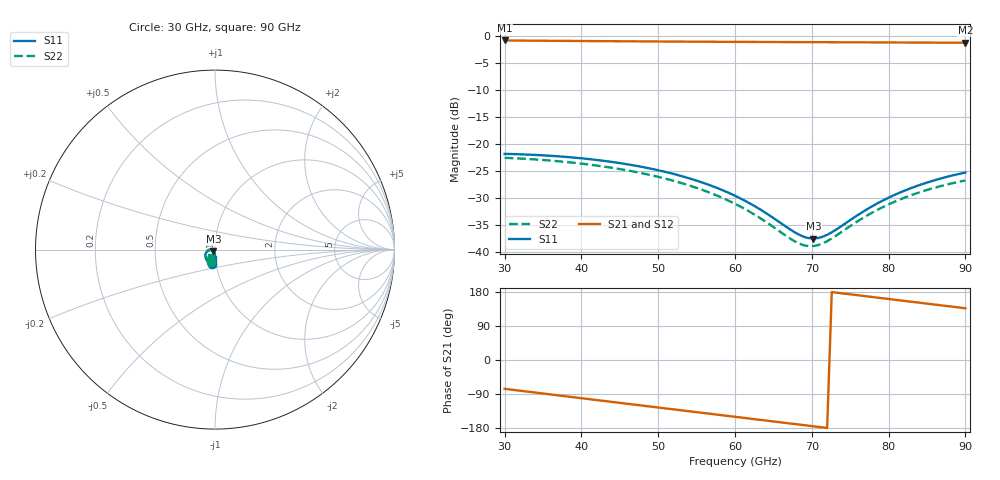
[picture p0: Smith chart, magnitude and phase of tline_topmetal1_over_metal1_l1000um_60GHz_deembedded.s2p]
! Created with skrf 2.0.1 (http://scikit-rf.org).
# GHz S DB R 50.0
!freq dBS11 angS11 dBS21 angS21 dBS12 angS12 dBS22 angS22
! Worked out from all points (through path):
!   101 points, 30 GHz to 90 GHz, reference 50 ohm
!   highest |S21| = -0.88 dB at 30 GHz (marker M1); lowest = -1.3 dB at 90 GHz (marker M2)
!   group delay of S21, straight-line fit = 6.82 ps
!   lowest |S11| = -37.6 dB at 70.2 GHz (marker M3), VSWR 1.03, Z = 49.1 - j0.969 ohm
!   |S11| at or under -10 dB: start of sweep to end of sweep
!   |S22| runs from -39.0 to -22.6 dB; largest |S21 - S12| = 1.1e-14
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30  -21.91 -102.9  -0.88 -76.1  -0.88 -76.1  -22.64 -105.8
34.8  -22.16 -117.2  -0.93 -88.0  -0.93 -88.0  -23.02 -121.2
37.2  -22.38 -124.0  -0.96 -93.9  -0.96 -93.9  -23.30 -128.7
40.2  -22.75 -132.3  -0.99 -101.3  -0.99 -101.3  -23.75 -137.6
45  -23.61 -144.7  -1.03 -113.1  -1.03 -113.1  -24.72 -151.2
50.4  -25.07 -157.3  -1.08 -126.4  -1.08 -126.4  -26.30 -165.1
53.4  -26.17 -163.4  -1.10 -133.7  -1.10 -133.7  -27.48 -171.9
55.8  -27.24 -167.6  -1.12 -139.6  -1.12 -139.6  -28.61 -176.7
58.2  -28.53 -170.9  -1.13 -145.5  -1.13 -145.5  -29.97 179.5
60  -29.67 -172.5  -1.14 -149.9  -1.14 -149.9  -31.16 177.6
63  -31.96 -172.3  -1.16 -157.3  -1.16 -157.3  -33.56 177.5
67.8  -36.46 -154.5  -1.19 -169.0  -1.19 -169.0  -38.13 -163.5
69  -37.29 -144.0  -1.20 -172.0  -1.20 -172.0  -38.86 -152.6
70.2  -37.60 -131.6  -1.20 -174.9  -1.20 -174.9  -39.00 -140.1
70.8  -37.51 -125.2  -1.20 -176.4  -1.20 -176.4  -38.83 -133.9
72  -36.91 -113.6  -1.21 -179.3  -1.21 -179.3  -38.08 -123.2
73.2  -35.92 -104.6  -1.22 177.7  -1.22 177.7  -37.02 -115.3
76.8  -32.52 -91.6  -1.24 168.9  -1.24 168.9  -33.66 -105.0
80.4  -29.76 -90.2  -1.26 160.0  -1.26 160.0  -31.01 -105.3
84.6  -27.41 -94.2  -1.28 149.7  -1.28 149.7  -28.77 -110.7
87  -26.39 -97.6  -1.29 143.8  -1.29 143.8  -27.80 -114.9
90  -25.36 -102.6  -1.31 136.5  -1.31 136.5  -26.84 -120.8
